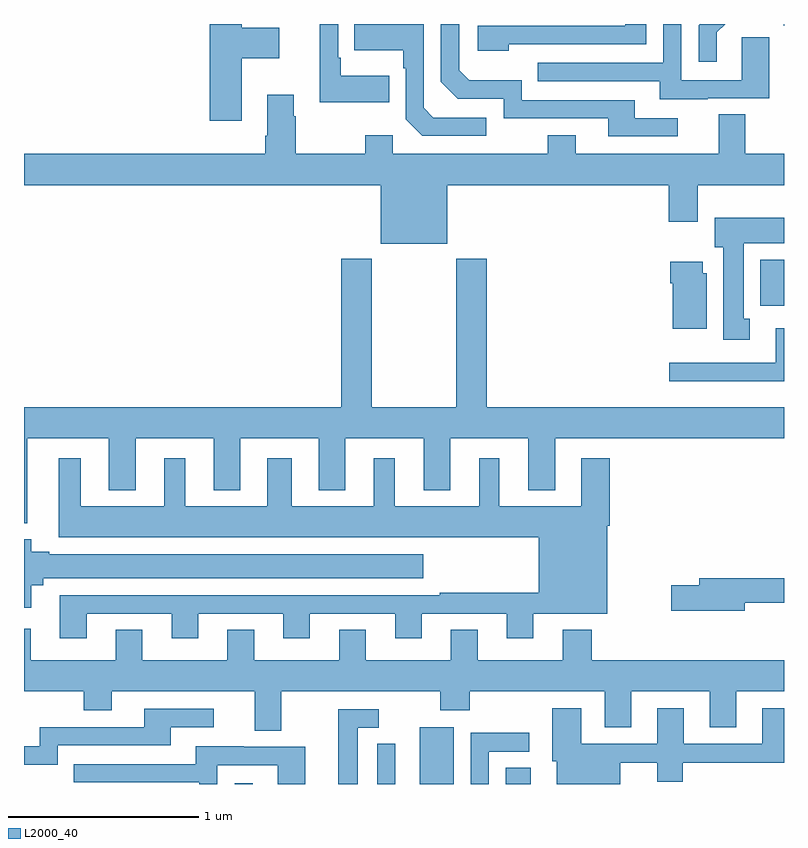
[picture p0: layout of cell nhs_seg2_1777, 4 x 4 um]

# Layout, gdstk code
import gdstk
lib = gdstk.Library(unit=1e-6, precision=1e-09)
def R(c, l, rs):  # rectangles x0, y0, x1, y1
    for r in rs: c.add(gdstk.rectangle(r[:2], r[2:], *l))
def P(c, l, *ps):  # polygons
    for p in ps: c.add(gdstk.Polygon(p, *l))
L2000_40 = (2000, 40)

nhs_seg2_1777 = lib.new_cell('nhs_seg2_1777')
R(nhs_seg2_1777, L2000_40, [(204.108,661.8,204.205,661.804), (205.082,661.8,205.261,662.098), (205.535,661.8,205.666,661.886), (206.876,664.316,207,664.558), (206.999,665.792,207,665.8)])
P(nhs_seg2_1777, L2000_40, [(205.55,665.694),(206.274,665.694),(206.274,665.8),(206.165,665.8),(206.165,665.79),(205.389,665.79),(205.389,665.66),(205.55,665.66)],
  [(206.647,665.757),(206.69,665.8),(206.556,665.8),(206.55,665.794),(206.55,665.601),(206.647,665.601)],
  [(206.599,665.409),(206.923,665.409),(206.923,665.729),(206.778,665.729),(206.778,665.505),(206.46,665.505),(206.46,665.8),(206.364,665.8),(206.364,665.595),(205.705,665.595),(205.705,665.499),(206.345,665.499),(206.345,665.405),(206.599,665.405)],
  [(204.923,665.527),(204.667,665.527),(204.667,665.623),(204.654,665.623),(204.654,665.8),(204.557,665.8),(204.557,665.387),(204.923,665.387)],
  [(205.432,665.307),(205.155,665.307),(205.104,665.358),(205.104,665.8),(204.739,665.8),(204.739,665.663),(204.996,665.663),(204.996,665.567),(205.008,665.567),(205.008,665.298),(205.095,665.211),(205.432,665.211)],
  [(206.44,665.304),(206.215,665.304),(206.215,665.4),(205.62,665.4),(205.62,665.503),(205.343,665.503),(205.29,665.556),(205.29,665.8),(205.194,665.8),(205.194,665.496),(205.284,665.406),(205.524,665.406),(205.524,665.304),(206.075,665.304),(206.075,665.208),(206.44,665.208)],
  [(204.145,665.621),(204.343,665.621),(204.343,665.779),(204.145,665.779),(204.145,665.8),(203.978,665.8),(203.978,665.292),(204.145,665.292)],
  [(205.228,664.952),(206.393,664.952),(206.393,664.758),(206.545,664.758),(206.545,664.952),(207,664.952),(207,665.116),(206.797,665.116),(206.797,665.324),(206.657,665.324),(206.657,665.116),(205.903,665.116),(205.903,665.215),(205.756,665.215),(205.756,665.116),(204.942,665.116),(204.942,665.215),(204.796,665.215),(204.796,665.116),(204.429,665.116),(204.429,665.315),(204.421,665.315),(204.421,665.428),(204.281,665.428),(204.281,665.212),(204.269,665.212),(204.269,665.116),(203,665.116),(203,664.952),(204.878,664.952),(204.878,664.643),(205.228,664.643)],
  [(206.821,664.25),(206.788,664.25),(206.788,664.646),(207,664.646),(207,664.78),(206.636,664.78),(206.636,664.626),(206.681,664.626),(206.681,664.137),(206.821,664.137)],
  [(203.017,663.62),(203.447,663.62),(203.447,663.347),(203.587,663.347),(203.587,663.62),(203.999,663.62),(203.999,663.347),(204.139,663.347),(204.139,663.62),(204.551,663.62),(204.551,663.347),(204.691,663.347),(204.691,663.62),(205.103,663.62),(205.103,663.347),(205.243,663.347),(205.243,663.62),(205.655,663.62),(205.655,663.347),(205.795,663.347),(205.795,663.62),(207,663.62),(207,663.784),(205.436,663.784),(205.436,664.564),(205.276,664.564),(205.276,663.784),(204.831,663.784),(204.831,664.564),(204.671,664.564),(204.671,663.784),(203,663.784),(203,663.172),(203.017,663.172)],
  [(206.593,664.488),(206.572,664.488),(206.572,664.549),(206.402,664.549),(206.402,664.436),(206.414,664.436),(206.414,664.196),(206.593,664.196)],
  [(207,664.198),(206.957,664.198),(206.957,664.017),(206.397,664.017),(206.397,663.92),(207,663.92)],
  [(203.329,662.697),(203.777,662.697),(203.777,662.568),(203.917,662.568),(203.917,662.697),(204.365,662.697),(204.365,662.568),(204.505,662.568),(204.505,662.697),(204.953,662.697),(204.953,662.568),(205.093,662.568),(205.093,662.697),(205.541,662.697),(205.541,662.568),(205.681,662.568),(205.681,662.696),(206.071,662.696),(206.071,663.158),(206.084,663.158),(206.084,663.514),(205.934,663.514),(205.934,663.262),(205.501,663.262),(205.501,663.514),(205.397,663.514),(205.397,663.262),(204.952,663.262),(204.952,663.514),(204.842,663.514),(204.842,663.262),(204.409,663.262),(204.409,663.514),(204.281,663.514),(204.281,663.262),(203.848,663.262),(203.848,663.514),(203.738,663.514),(203.738,663.262),(203.299,663.262),(203.299,663.514),(203.183,663.514),(203.183,663.098),(205.709,663.098),(205.709,662.806),(205.189,662.806),(205.189,662.793),(203.189,662.793),(203.189,662.568),(203.329,662.568)],
  [(203.038,662.846),(203.101,662.846),(203.101,662.882),(205.102,662.882),(205.102,663.01),(203.134,663.01),(203.134,663.023),(203.038,663.023),(203.038,663.087),(203,663.087),(203,662.727),(203.038,662.727)],
  [(206.794,662.754),(207,662.754),(207,662.882),(206.555,662.882),(206.555,662.846),(206.406,662.846),(206.406,662.711),(206.794,662.711)],
  [(204.355,662.288),(205.192,662.288),(205.192,662.189),(205.347,662.189),(205.347,662.288),(206.057,662.288),(206.057,662.098),(206.197,662.098),(206.197,662.288),(206.609,662.288),(206.609,662.098),(206.749,662.098),(206.749,662.288),(207,662.288),(207,662.452),(205.988,662.452),(205.988,662.611),(205.835,662.611),(205.835,662.452),(205.387,662.452),(205.387,662.612),(205.247,662.612),(205.247,662.452),(204.799,662.452),(204.799,662.612),(204.659,662.612),(204.659,662.452),(204.211,662.452),(204.211,662.612),(204.071,662.612),(204.071,662.452),(203.623,662.452),(203.623,662.612),(203.483,662.612),(203.483,662.452),(203.035,662.452),(203.035,662.617),(203,662.617),(203,662.288),(203.314,662.288),(203.314,662.189),(203.461,662.189),(203.461,662.288),(204.215,662.288),(204.215,662.08),(204.355,662.08)],
  [(206.137,661.912),(206.333,661.912),(206.333,661.811),(206.468,661.811),(206.468,661.912),(207,661.912),(207,662.2),(206.885,662.2),(206.885,662.013),(206.473,662.013),(206.473,662.2),(206.333,662.2),(206.333,662.013),(205.933,662.013),(205.933,662.2),(205.781,662.2),(205.781,661.92),(205.805,661.92),(205.805,661.8),(206.137,661.8)],
  [(203.178,662.004),(203.773,662.004),(203.773,662.1),(203.998,662.1),(203.998,662.196),(203.633,662.196),(203.633,662.1),(203.082,662.1),(203.082,661.998),(203,661.998),(203,661.901),(203.178,661.901)],
  [(204.757,662.097),(204.868,662.097),(204.868,662.193),(204.653,662.193),(204.653,661.8),(204.757,661.8)],
  [(205.446,661.971),(205.66,661.971),(205.66,662.07),(205.35,662.07),(205.35,661.8),(205.446,661.8)],
  [(204.953,661.858),(204.954,661.858),(204.954,662.012),(204.858,662.012),(204.858,661.8),(204.953,661.8)],
  [(204.018,661.899),(204.336,661.899),(204.336,661.8),(204.481,661.8),(204.481,661.995),(204.157,661.995),(204.157,661.999),(203.903,661.999),(203.903,661.905),(203.263,661.905),(203.263,661.809),(203.922,661.809),(203.922,661.8),(204.018,661.8)])

lib.write_gds('nhs_seg2_1777.gds')
